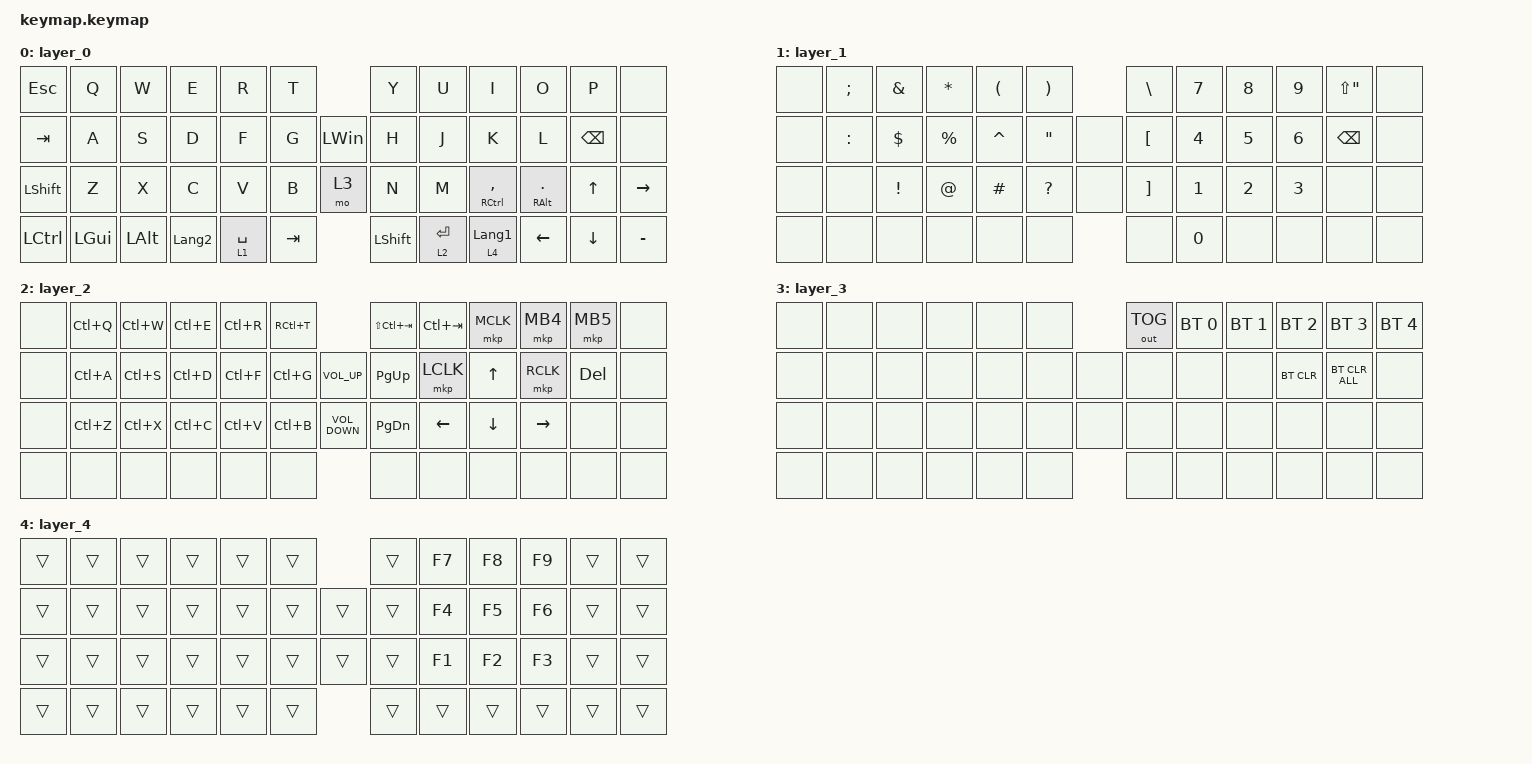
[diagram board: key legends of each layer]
#include <behaviors.dtsi>
#include <dt-bindings/zmk/bt.h>
#include <dt-bindings/zmk/keys.h>
#include <dt-bindings/zmk/outputs.h>
#include <dt-bindings/zmk/pointing.h>

/ {
    combos {
        compatible = "zmk,combos";

        left_click {
            bindings = <&mkp LCLK>;
            key-positions = <20 21>;
        };

        right_click {
            bindings = <&mkp RCLK>;
            key-positions = <22 21>;
        };

        lang1 {
            bindings = <&kp LANGUAGE_1>;
            key-positions = <19 20>;
        };

        lang2 {
            bindings = <&kp LANGUAGE_2>;
            key-positions = <16 17>;
        };

        slash {
            bindings = <&kp SLASH>;
            key-positions = <7 8>;
            layers = <1>;
        };

        asterisk {
            bindings = <&kp ASTRK>;
            key-positions = <8 9>;
            layers = <1>;
        };

        plus {
            bindings = <&kp PLUS>;
            key-positions = <21 22>;
            layers = <1>;
        };

        minus {
            bindings = <&kp MINUS>;
            key-positions = <20 21>;
            layers = <1>;
        };

        equal {
            bindings = <&kp EQUAL>;
            key-positions = <33 34>;
            layers = <1>;
        };

        period {
            bindings = <&kp PERIOD>;
            key-positions = <34 35>;
            layers = <1>;
        };

        mute {
            bindings = <&kp C_MUTE>;
            key-positions = <18 31>;
            layers = <1>;
        };

        FUNCTION10 {
            bindings = <&kp F10>;
            key-positions = <33 34>;
            layers = <4>;
        };

        FUNCTION11 {
            bindings = <&kp F11>;
            key-positions = <34 35>;
            layers = <4>;
        };

        FUNCTION12 {
            bindings = <&kp F12>;
            key-positions = <20 21>;
            layers = <4>;
        };
    };

    keymap {
        compatible = "zmk,keymap";

        layer_0 {
            bindings = <
&kp ESC    &kp Q     &kp W     &kp E  &kp R           &kp T                               &kp Y        &kp U             &kp I            &kp O              &kp P     &none
&kp TAB    &kp A     &kp S     &kp D  &kp F           &kp G                 &kp LEFT_WIN  &kp H        &kp J             &kp K            &kp L              &kp BSPC  &none
&kp LSHFT  &kp Z     &kp X     &kp C  &kp V           &kp B                 &mo 3         &kp N        &kp M             &mt RCTRL COMMA  &mt RIGHT_ALT DOT  &kp UP    &kp RIGHT
&kp LCTRL  &kp LGUI  &kp LALT         &kp LANGUAGE_2  &lt 1 SPACE  &kp TAB  &kp LSHFT     &lt 2 ENTER  &lt 4 LANGUAGE_1                   &kp LEFT           &kp DOWN  &kp MINUS
            >;
        };

        layer_1 {
            bindings = <
&none  &kp SEMICOLON  &kp AMPERSAND    &kp ASTERISK  &kp LEFT_PARENTHESIS  &kp RIGHT_PARENTHESIS                &kp BSLH  &kp N7  &kp N8  &kp N9  &kp LS(DQT)  &none
&none  &kp COLON      &kp DOLLAR       &kp PERCENT   &kp CARET             &kp DOUBLE_QUOTES             &none  &kp LBKT  &kp N4  &kp N5  &kp N6  &kp BSPC     &none
&none  &none          &kp EXCLAMATION  &kp AT_SIGN   &kp HASH              &kp QUESTION                  &none  &kp RBKT  &kp N1  &kp N2  &kp N3  &none        &none
&none  &none          &none                          &none                 &none                  &none  &none  &kp N0    &none           &none   &none        &none
            >;
        };

        layer_2 {
            bindings = <
&none  &kp LC(Q)  &kp LC(W)  &kp LC(E)  &kp LC(R)  &kp RC(T)                            &kp LS(LC(TAB))  &kp LC(TAB)  &mkp MCLK  &mkp MB4   &mkp MB5  &none
&none  &kp LC(A)  &kp LC(S)  &kp LC(D)  &kp LC(F)  &kp LC(G)         &kp C_VOLUME_UP    &kp PAGE_UP      &mkp LCLK    &kp UP     &mkp RCLK  &kp DEL   &none
&none  &kp LC(Z)  &kp LC(X)  &kp LC(C)  &kp LC(V)  &kp LC(B)         &kp C_VOLUME_DOWN  &kp PAGE_DOWN    &kp LEFT     &kp DOWN   &kp RIGHT  &none     &none
&none  &none      &none                 &none      &none      &none  &none              &none            &none                   &none      &none     &none
            >;
        };

        layer_3 {
            bindings = <
&none  &none  &none  &none  &none  &none                &out OUT_TOG  &bt BT_SEL 0  &bt BT_SEL 1  &bt BT_SEL 2  &bt BT_SEL 3    &bt BT_SEL 4
&none  &none  &none  &none  &none  &none         &none  &none         &none         &none         &bt BT_CLR    &bt BT_CLR_ALL  &none
&none  &none  &none  &none  &none  &none         &none  &none         &none         &none         &none         &none           &none
&none  &none  &none         &none  &none  &none  &none  &none         &none                       &none         &none           &none
            >;
        };

        layer_4 {
            bindings = <
&trans  &trans  &trans  &trans  &trans  &trans                  &trans  &kp F7  &kp F8  &kp F9  &trans  &trans
&trans  &trans  &trans  &trans  &trans  &trans          &trans  &trans  &kp F4  &kp F5  &kp F6  &trans  &trans
&trans  &trans  &trans  &trans  &trans  &trans          &trans  &trans  &kp F1  &kp F2  &kp F3  &trans  &trans
&trans  &trans  &trans          &trans  &trans  &trans  &trans  &trans  &trans          &trans  &trans  &trans
            >;
        };
    };
};
